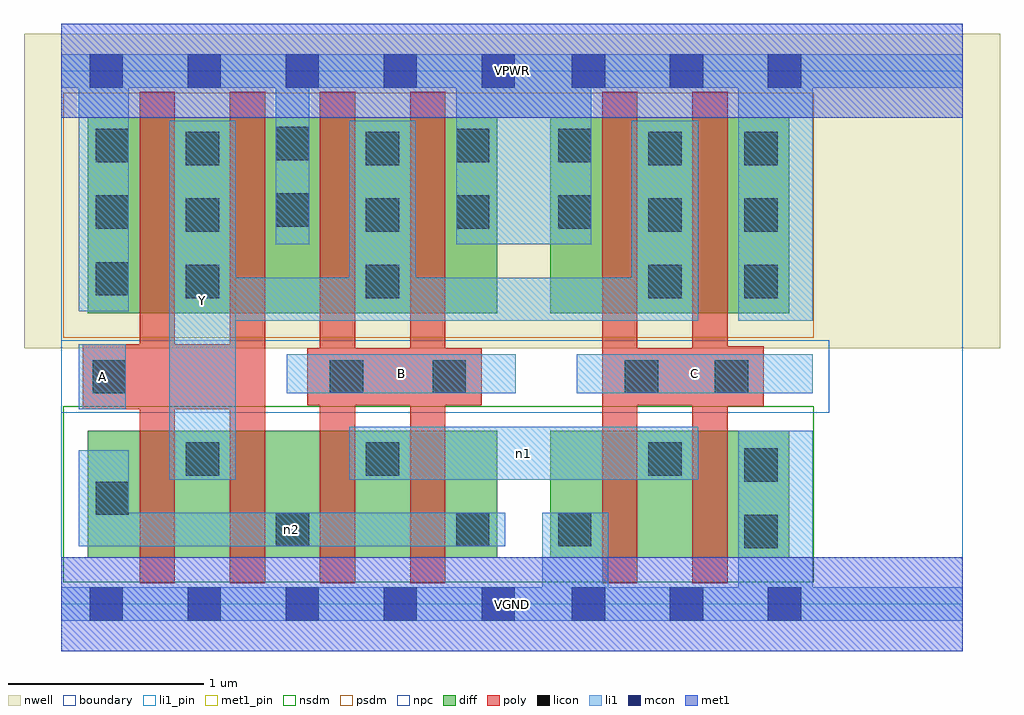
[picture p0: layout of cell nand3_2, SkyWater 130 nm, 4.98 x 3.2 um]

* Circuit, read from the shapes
.subckt nand3_2 A B C VGND VPWR Y n1 n2
XM1 Y A n2 VSUBS sky130_fd_pr__nfet_01v8 w=0.65 l=0.18 m=2
XM2 n1 B n2 VSUBS sky130_fd_pr__nfet_01v8 w=0.65 l=0.18 m=2
XM3 n1 C VGND VSUBS sky130_fd_pr__nfet_01v8 w=0.65 l=0.18 m=2
XM4 Y A VPWR n3 sky130_fd_pr__pfet_01v8 w=1 l=0.18 m=2
XM5 Y B VPWR n3 sky130_fd_pr__pfet_01v8 w=1 l=0.18 m=2
XM6 Y C VPWR n3 sky130_fd_pr__pfet_01v8 w=1 l=0.18 m=2
.ends

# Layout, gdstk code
import gdstk
lib = gdstk.Library(unit=1e-6, precision=1e-09)
def R(c, l, rs):  # rectangles x0, y0, x1, y1
    for r in rs: c.add(gdstk.rectangle(r[:2], r[2:], *l))
def A(c, l, x, y, w, h, nx, ny, dx, dy):  # array of equal rectangles
    R(c, l, [(x+i*dx, y+j*dy, x+i*dx+w, y+j*dy+h) for i in range(nx) for j in range(ny)])
nwell = (64, 20)
diff = (65, 20)
poly = (66, 20)
licon = (66, 44)
li1_pin = (67, 16)
li1 = (67, 20)
mcon = (67, 44)
met1_pin = (68, 16)
met1 = (68, 20)
nsdm = (93, 44)
psdm = (94, 20)
npc = (95, 20)
boundary = (235, 4)

nand3_2 = lib.new_cell('nand3_2')
R(nand3_2, nwell, [(-0.19,1.305,4.79,2.91), (0,1.305,4.6,2.91)])
R(nand3_2, diff, [(0.135,0.235,2.225,0.885), (2.495,0.235,3.715,0.885), (0.135,1.485,2.225,2.485), (2.495,1.485,3.715,2.485)])
A(nand3_2, poly, 0.4, 0.105, 0.18, 2.51, 4, 1, 0.46, 0)
R(nand3_2, poly, [(2.76,0.105,2.94,2.615), (3.22,0.105,3.4,2.615), (0.11,0.995,1.04,1.325), (3.22,1.01,3.585,1.315), (1.255,1.015,2.145,1.305), (2.76,1.015,3.585,1.305)])
A(nand3_2, licon, 0.635, 1.56, 0.17, 0.17, 1, 3, 0, 0.34)
A(nand3_2, licon, 1.555, 1.56, 0.17, 0.17, 1, 3, 0, 0.34)
A(nand3_2, licon, 2.995, 1.56, 0.17, 0.17, 1, 3, 0, 0.34)
A(nand3_2, licon, 3.485, 1.56, 0.17, 0.17, 1, 3, 0, 0.34)
A(nand3_2, licon, 0.175, 1.575, 0.17, 0.17, 1, 3, 0, 0.34)
R(nand3_2, licon, [(3.485,0.285,3.655,0.455), (1.095,0.295,1.265,0.465), (2.015,0.295,2.185,0.465), (2.535,0.295,2.705,0.465), (0.175,0.455,0.345,0.625), (3.485,0.625,3.655,0.795), (0.635,0.655,0.805,0.825), (1.555,0.655,1.725,0.825), (2.995,0.655,3.165,0.825), (0.16,1.075,0.33,1.245), (1.37,1.075,1.54,1.245), (1.895,1.075,2.065,1.245), (2.875,1.075,3.045,1.245), (3.335,1.075,3.505,1.245), (2.015,1.915,2.185,2.085), (2.535,1.915,2.705,2.085), (1.095,1.925,1.265,2.095), (2.015,2.255,2.185,2.425), (2.535,2.255,2.705,2.425), (1.095,2.265,1.265,2.435)])
R(nand3_2, li1_pin, [(0.55,0.635,0.89,2.465), (0.09,0.995,0.33,1.325), (1.15,1.075,2.32,1.275), (2.63,1.075,3.835,1.275)])
R(nand3_2, li1, [(0,-0.085,4.6,0.085), (2.455,-0.085,2.79,0.465), (3.455,-0.085,3.835,0.885), (0.09,0.295,2.265,0.465), (0.09,0.295,0.345,0.785), (0.55,0.635,0.89,2.465), (1.47,0.635,3.25,0.905), (0.09,0.995,0.33,1.325), (1.15,1.075,2.32,1.275), (2.63,1.075,3.835,1.275), (0.55,1.445,3.25,1.665), (1.47,1.445,1.81,2.465), (2.91,1.445,3.25,2.465), (3.455,1.445,3.835,2.805), (0.09,1.495,0.345,2.805), (1.095,1.835,1.265,2.805), (2.015,1.835,2.705,2.805), (0,2.635,4.6,2.805)])
A(nand3_2, mcon, 0.145, -0.085, 0.17, 0.17, 5, 2, 0.5, 2.72)
A(nand3_2, mcon, 2.605, -0.085, 0.17, 0.17, 3, 2, 0.5, 2.72)
R(nand3_2, met1_pin, [(0,-0.24,4.6,0.24), (0,2.48,4.6,2.96)])
R(nand3_2, met1, [(0,-0.24,4.6,0.24), (0,2.48,4.6,2.96)])
R(nand3_2, nsdm, [(0.01,0.11,3.84,1.01)])
R(nand3_2, psdm, [(0.01,1.36,3.84,2.61)])
R(nand3_2, npc, [(0,0.975,3.92,1.345)])
R(nand3_2, boundary, [(0,0,4.6,2.72)])
nand3_2.add(gdstk.Label('A', (0.21,1.16), layer=67, texttype=5))
nand3_2.add(gdstk.Label('B', (1.735,1.175), layer=67, texttype=5))
nand3_2.add(gdstk.Label('C', (3.232,1.175), layer=67, texttype=5))
nand3_2.add(gdstk.Label('Y', (0.72,1.55), layer=67, texttype=5))
nand3_2.add(gdstk.Label('n2', (1.177,0.38), layer=67, texttype=5))
nand3_2.add(gdstk.Label('n1', (2.36,0.77), layer=67, texttype=5))
nand3_2.add(gdstk.Label('VPWR', (2.3,2.72), layer=68, texttype=5))
nand3_2.add(gdstk.Label('VGND', (2.3,0), layer=68, texttype=5))
nand3_2.add(gdstk.Label('A', (0.21,1.16), layer=67, texttype=16))
nand3_2.add(gdstk.Label('B', (1.735,1.175), layer=67, texttype=16))
nand3_2.add(gdstk.Label('C', (3.232,1.175), layer=67, texttype=16))
nand3_2.add(gdstk.Label('Y', (0.72,1.55), layer=67, texttype=16))
nand3_2.add(gdstk.Label('VPWR', (2.3,2.72), layer=68, texttype=16))
nand3_2.add(gdstk.Label('VGND', (2.3,0), layer=68, texttype=16))

lib.write_gds('nand3_2.gds')
